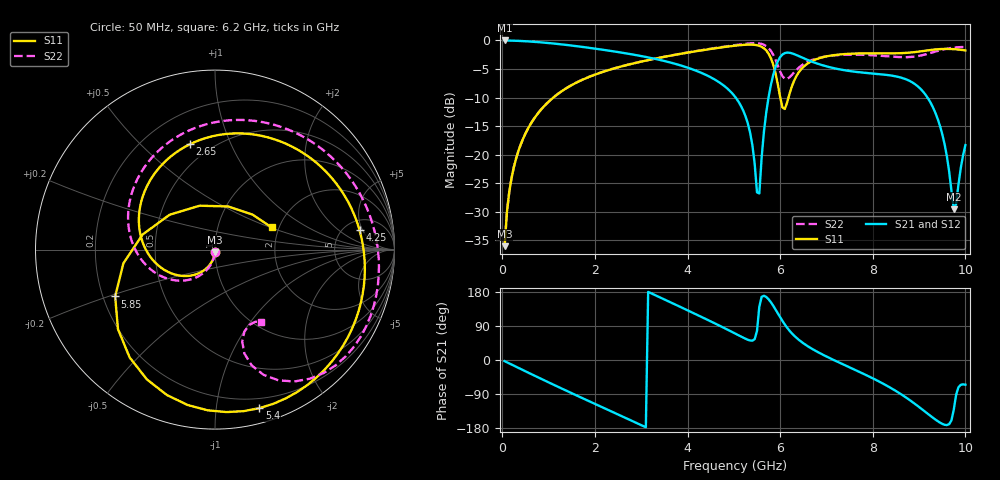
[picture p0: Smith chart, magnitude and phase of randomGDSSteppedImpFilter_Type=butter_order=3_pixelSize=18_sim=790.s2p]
! freq	dB(S11)	phase(S11)	dB(S12)	phase(S12)
!  dB(S21)	phase(S21)	dB(S22)	phase(S22)
!S-par simulation data
#  GHz  S  DB  R 50
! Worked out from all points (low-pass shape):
!   200 points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, 50 MHz to 10 GHz, reference 50 ohm
!   highest |S21| = -0.01 dB at 50 MHz (marker M1); lowest = -29.6 dB at 9.75 GHz (marker M2)
!   |S21| within 3 dB of the highest: start of sweep to 3.17 GHz; 5.993 GHz to 6.477 GHz (483.8 MHz wide, 7.76 % of centre)
!   lowest |S11| = -36.0 dB at 50 MHz (marker M3), VSWR 1.03, Z = 49.9 - j1.58 ohm
!   |S11| at or under -10 dB: start of sweep to 1.102 GHz; 6.002 GHz to 6.18 GHz (177.5 MHz wide, 2.91 % of centre)
!   |S22| runs from -36.0 to -0.5 dB; largest |S21 - S12| = 0
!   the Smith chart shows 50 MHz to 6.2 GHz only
!   S11 on the Smith chart (normalised r, x): 50 MHz: 1.00, -0.03; 2.65 GHz: 0.39, +0.71; 4.25 GHz: 6.84, +4.36; 5.4 GHz: 0.12, -1.31; 5.85 GHz: 0.25, -0.21; 6.2 GHz: 1.83, +0.51
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0.05  -36.01 -92.8  -0.01 -3.0  -0.01 -3.0  -36.00 -92.3
0.2  -24.08 -103.2  -0.04 -12.0  -0.04 -12.0  -24.07 -101.2
0.5  -16.30 -123.0  -0.14 -29.8  -0.14 -29.8  -16.29 -117.8
1.75  -6.81 158.3  -1.16 -101.8  -1.16 -101.8  -6.79 176.5
2.65  -4.39 103.4  -2.24 -152.2  -2.24 -152.2  -4.37 130.6
3.4  -3.03 58.3  -3.41 165.5  -3.41 165.5  -3.02 91.2
4.25  -1.80 7.7  -5.51 116.7  -5.51 116.7  -1.78 44.4
5.05  -0.90 -43.9  -10.12 68.5  -10.12 68.5  -0.79 -2.7
5.4  -0.75 -74.4  -18.31 51.0  -18.31 51.0  -0.49 -26.8
5.55  -0.95 -92.6  -26.78 140.7  -26.78 140.7  -0.53 -39.2
5.65  -1.38 -108.3  -15.96 169.5  -15.96 169.5  -0.76 -48.6
5.85  -4.23 -154.8  -6.04 143.4  -6.04 143.4  -2.52 -68.8
6  -9.92 142.5  -2.91 112.9  -2.91 112.9  -5.45 -73.5
6.2  -9.41 21.5  -2.16 77.7  -2.16 77.7  -6.47 -57.6
6.7  -3.56 -55.1  -3.76 28.6  -3.76 28.6  -3.38 -70.5
7.55  -2.32 -104.6  -5.41 -22.3  -5.41 -22.3  -2.48 -118.6
8.35  -2.27 -140.5  -6.09 -71.0  -6.09 -71.0  -2.80 179.5
8.7  -2.19 -156.1  -6.75 -97.5  -6.75 -97.5  -2.93 139.4
9.1  -1.84 -176.5  -9.10 -133.5  -9.10 -133.5  -2.53 80.8
9.5  -1.50 156.7  -16.39 -168.5  -16.39 -168.5  -1.63 19.7
9.75  -1.53 137.0  -29.55 -130.4  -29.55 -130.4  -1.26 -12.7
10  -1.75 115.7  -18.32 -65.3  -18.32 -65.3  -1.15 -39.4
